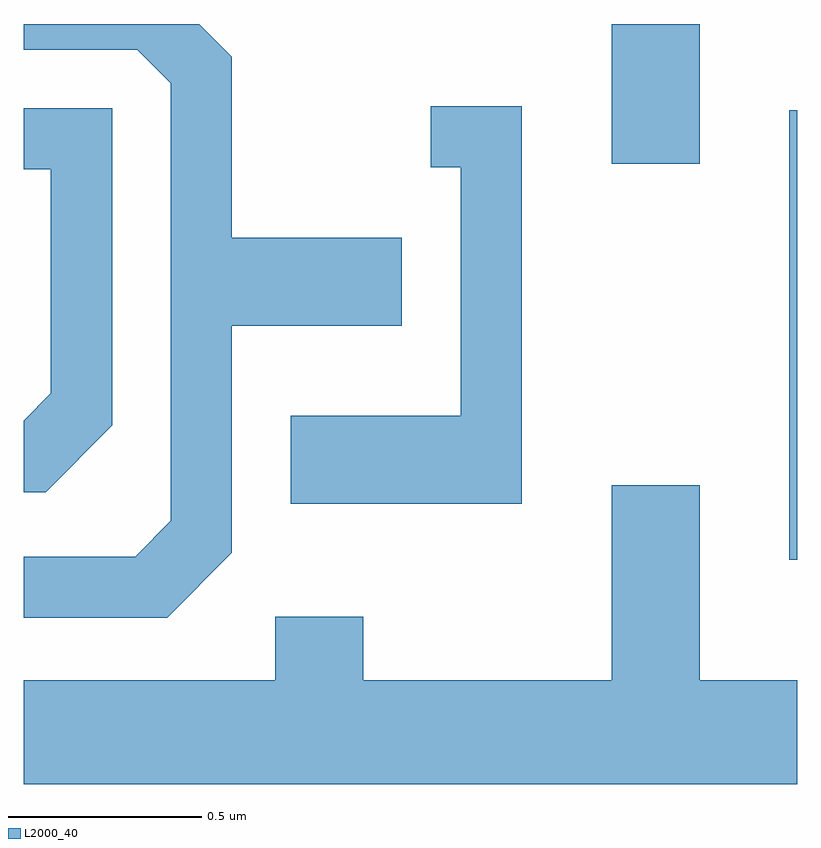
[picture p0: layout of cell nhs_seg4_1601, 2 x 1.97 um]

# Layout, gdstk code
import gdstk
lib = gdstk.Library(unit=1e-6, precision=1e-09)
def R(c, l, rs):  # rectangles x0, y0, x1, y1
    for r in rs: c.add(gdstk.rectangle(r[:2], r[2:], *l))
def P(c, l, *ps):  # polygons
    for p in ps: c.add(gdstk.Polygon(p, *l))
L2000_40 = (2000, 40)

nhs_seg4_1601 = lib.new_cell('nhs_seg4_1601')
R(nhs_seg4_1601, L2000_40, [(198.591,1348.596,198.611,1349.759), (198.131,1349.621,198.359,1349.982)])
P(nhs_seg4_1601, L2000_40, [(197.149,1348.614),(197.149,1349.201),(197.589,1349.201),(197.589,1349.429),(197.149,1349.429),(197.149,1349.897),(197.064,1349.982),(196.611,1349.982),(196.611,1349.916),(196.904,1349.916),(196.991,1349.829),(196.991,1348.697),(196.899,1348.604),(196.611,1348.604),(196.611,1348.446),(196.982,1348.446)],
  [(197.899,1349.769),(197.663,1349.769),(197.663,1349.611),(197.741,1349.611),(197.741,1348.969),(197.301,1348.969),(197.301,1348.741),(197.899,1348.741)],
  [(196.839,1348.944),(196.839,1349.764),(196.611,1349.764),(196.611,1349.606),(196.681,1349.606),(196.681,1349.027),(196.611,1348.956),(196.611,1348.771),(196.667,1348.771)],
  [(198.611,1348.284),(198.359,1348.284),(198.359,1348.789),(198.131,1348.789),(198.131,1348.284),(197.489,1348.284),(197.489,1348.449),(197.261,1348.449),(197.261,1348.284),(196.611,1348.284),(196.611,1348.016),(198.611,1348.016)])

lib.write_gds('nhs_seg4_1601.gds')
